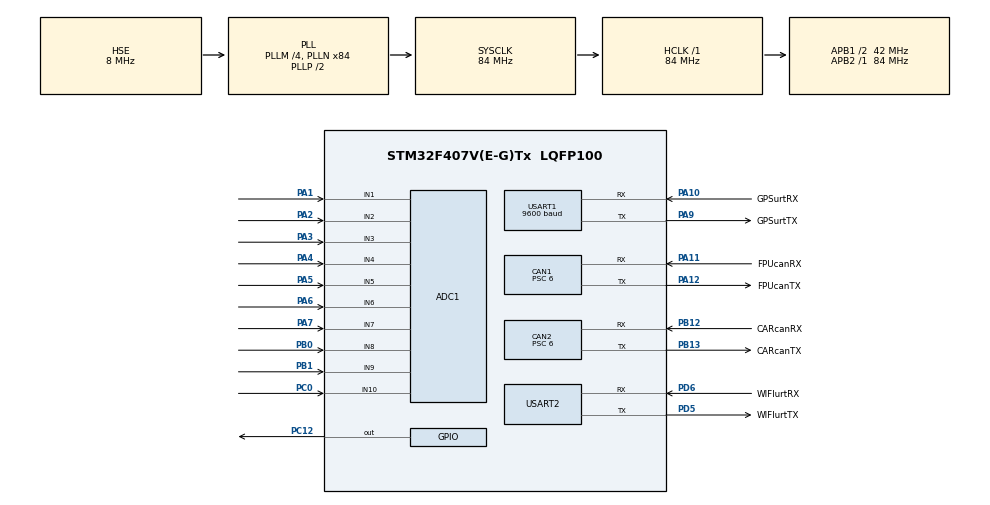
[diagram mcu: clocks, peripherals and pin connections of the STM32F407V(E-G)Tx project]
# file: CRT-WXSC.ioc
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ADC1.Channel-0\#ChannelRegularConversion=ADC_CHANNEL_1
ADC1.Channel-1\#ChannelRegularConversion=ADC_CHANNEL_2
ADC1.Channel-2\#ChannelRegularConversion=ADC_CHANNEL_3
ADC1.Channel-3\#ChannelRegularConversion=ADC_CHANNEL_4
ADC1.Channel-4\#ChannelRegularConversion=ADC_CHANNEL_5
ADC1.Channel-5\#ChannelRegularConversion=ADC_CHANNEL_6
ADC1.Channel-6\#ChannelRegularConversion=ADC_CHANNEL_7
ADC1.Channel-7\#ChannelRegularConversion=ADC_CHANNEL_8
ADC1.Channel-8\#ChannelRegularConversion=ADC_CHANNEL_9
ADC1.Channel-9\#ChannelRegularConversion=ADC_CHANNEL_10
ADC1.ContinuousConvMode=ENABLE
ADC1.DMAContinuousRequests=ENABLE
ADC1.ExternalTrigConv=ADC_EXTERNALTRIGCONV_T3_TRGO
ADC1.InjNumberOfConversion=0
ADC1.NbrOfConversion=10
ADC1.NbrOfConversionFlag=1
ADC1.Rank-0\#ChannelRegularConversion=1
ADC1.Rank-1\#ChannelRegularConversion=2
ADC1.Rank-2\#ChannelRegularConversion=3
ADC1.Rank-3\#ChannelRegularConversion=4
ADC1.Rank-4\#ChannelRegularConversion=5
ADC1.Rank-5\#ChannelRegularConversion=6
ADC1.Rank-6\#ChannelRegularConversion=7
ADC1.Rank-7\#ChannelRegularConversion=8
ADC1.Rank-8\#ChannelRegularConversion=9
ADC1.Rank-9\#ChannelRegularConversion=10
ADC1.SamplingTime-0\#ChannelRegularConversion=ADC_SAMPLETIME_3CYCLES
ADC1.SamplingTime-1\#ChannelRegularConversion=ADC_SAMPLETIME_3CYCLES
ADC1.SamplingTime-2\#ChannelRegularConversion=ADC_SAMPLETIME_3CYCLES
ADC1.SamplingTime-3\#ChannelRegularConversion=ADC_SAMPLETIME_3CYCLES
ADC1.SamplingTime-4\#ChannelRegularConversion=ADC_SAMPLETIME_3CYCLES
ADC1.SamplingTime-5\#ChannelRegularConversion=ADC_SAMPLETIME_3CYCLES
ADC1.SamplingTime-6\#ChannelRegularConversion=ADC_SAMPLETIME_3CYCLES
ADC1.SamplingTime-7\#ChannelRegularConversion=ADC_SAMPLETIME_3CYCLES
ADC1.SamplingTime-8\#ChannelRegularConversion=ADC_SAMPLETIME_3CYCLES
ADC1.SamplingTime-9\#ChannelRegularConversion=ADC_SAMPLETIME_3CYCLES
ADC1.ScanConvMode=ENABLE
ADC1.master=1
CAN1.BS1=CAN_BS1_11TQ
CAN1.BS2=CAN_BS2_2TQ
CAN1.CalculateBaudRate=500000
CAN1.CalculateTimeBit=2000
CAN1.CalculateTimeQuantum=142.85714285714286
CAN1.Prescaler=6
CAN2.BS1=CAN_BS1_8TQ
CAN2.BS2=CAN_BS2_5TQ
CAN2.CalculateBaudRate=500000
CAN2.CalculateTimeBit=2000
CAN2.CalculateTimeQuantum=142.85714285714286
CAN2.Prescaler=6
Dma.ADC1.1.Direction=DMA_PERIPH_TO_MEMORY
Dma.ADC1.1.FIFOMode=DMA_FIFOMODE_DISABLE
Dma.ADC1.1.Instance=DMA2_Stream0
Dma.ADC1.1.MemDataAlignment=DMA_MDATAALIGN_HALFWORD
Dma.ADC1.1.MemInc=DMA_MINC_ENABLE
Dma.ADC1.1.Mode=DMA_NORMAL
Dma.ADC1.1.PeriphDataAlignment=DMA_PDATAALIGN_HALFWORD
Dma.ADC1.1.PeriphInc=DMA_PINC_DISABLE
Dma.ADC1.1.Priority=DMA_PRIORITY_HIGH
Dma.Request0=USART2_RX
Dma.Request1=ADC1
Dma.Request2=USART1_RX
Dma.Request3=USART2_TX
Dma.Request4=USART1_TX
Dma.USART1_RX.2.Direction=DMA_PERIPH_TO_MEMORY
Dma.USART1_RX.2.FIFOMode=DMA_FIFOMODE_DISABLE
Dma.USART1_RX.2.Instance=DMA2_Stream2
Dma.USART1_RX.2.MemDataAlignment=DMA_MDATAALIGN_BYTE
Dma.USART1_RX.2.MemInc=DMA_MINC_ENABLE
Dma.USART1_RX.2.Mode=DMA_CIRCULAR
Dma.USART1_RX.2.PeriphDataAlignment=DMA_PDATAALIGN_BYTE
Dma.USART1_RX.2.PeriphInc=DMA_PINC_DISABLE
Dma.USART1_RX.2.Priority=DMA_PRIORITY_MEDIUM
Dma.USART1_TX.4.Direction=DMA_MEMORY_TO_PERIPH
Dma.USART1_TX.4.FIFOMode=DMA_FIFOMODE_DISABLE
Dma.USART1_TX.4.Instance=DMA2_Stream7
Dma.USART1_TX.4.MemDataAlignment=DMA_MDATAALIGN_BYTE
Dma.USART1_TX.4.MemInc=DMA_MINC_ENABLE
Dma.USART1_TX.4.Mode=DMA_NORMAL
Dma.USART1_TX.4.PeriphDataAlignment=DMA_PDATAALIGN_BYTE
Dma.USART1_TX.4.PeriphInc=DMA_PINC_DISABLE
Dma.USART1_TX.4.Priority=DMA_PRIORITY_LOW
Dma.USART2_RX.0.Direction=DMA_PERIPH_TO_MEMORY
Dma.USART2_RX.0.FIFOMode=DMA_FIFOMODE_DISABLE
Dma.USART2_RX.0.Instance=DMA1_Stream5
Dma.USART2_RX.0.MemDataAlignment=DMA_MDATAALIGN_BYTE
Dma.USART2_RX.0.MemInc=DMA_MINC_ENABLE
Dma.USART2_RX.0.Mode=DMA_CIRCULAR
Dma.USART2_RX.0.PeriphDataAlignment=DMA_PDATAALIGN_BYTE
Dma.USART2_RX.0.PeriphInc=DMA_PINC_DISABLE
Dma.USART2_RX.0.Priority=DMA_PRIORITY_LOW
Dma.USART2_TX.3.Direction=DMA_MEMORY_TO_PERIPH
Dma.USART2_TX.3.FIFOMode=DMA_FIFOMODE_DISABLE
Dma.USART2_TX.3.Instance=DMA1_Stream6
Dma.USART2_TX.3.MemDataAlignment=DMA_MDATAALIGN_BYTE
Dma.USART2_TX.3.MemInc=DMA_MINC_ENABLE
Dma.USART2_TX.3.Mode=DMA_NORMAL
Dma.USART2_TX.3.PeriphDataAlignment=DMA_PDATAALIGN_BYTE
Dma.USART2_TX.3.PeriphInc=DMA_PINC_DISABLE
Dma.USART2_TX.3.Priority=DMA_PRIORITY_MEDIUM
FREERTOS.BinarySemaphores01=sem_tx_done,Dynamic,NULL,Available
FREERTOS.Events01=eg_sensor,Static,evt_imuControlBlock
FREERTOS.Mutexes01=myMutex_adc,Static,myMutex_adcControlBlock,Available;myMutex_nav_result,Static,myMutex_nav_resultControlBlock,Available
FREERTOS.Queues01=q_imu_raw,16,can_frame_t,0,Static,q_imu_rawBuffer,q_imu_rawControlBlock;q_can2_rx,8,can_frame_t,0,Static,q_can2_rxBuffer,q_can2_rxControlBlock;q_gps_raw,4,gps_pdu_t*,0,Static,q_gps_rawBuffer,q_gps_rawControlBlock;q_nav_result,4,nav_result_t*,0,Static,q_nav_resultBuffer,q_nav_resultControlBlock
FREERTOS.Tasks01=StartTask,32,128,StartTask_01,Default,NULL,Dynamic,NULL,NULL;task_nav,40,128,StartTask_nav,As external,NULL,Dynamic,NULL,NULL;task_imu_rx,32,128,StartTask_imu_rx,As external,NULL,Dynamic,NULL,NULL;task_gps_rx,32,128,StartTask_gps_rx,As external,NULL,Dynamic,NULL,NULL;task_can2,24,128,StartTask_can2,As external,NULL,Dynamic,NULL,NULL;task_tx_pack,16,128,StartTask_tx_pack,As external,NULL,Dynamic,NULL,NULL;task_monitor,8,128,StartTask_monitor,As external,NULL,Dynamic,NULL,NULL;task_adc,32,128,StartTask_adc,As external,NULL,Dynamic,NULL,NULL
FREERTOS.configMAX_CO_ROUTINE_PRIORITIES=8
FREERTOS.configTOTAL_HEAP_SIZE=40960
FREERTOS.configUSE_MALLOC_FAILED_HOOK=1
FREERTOS.configUSE_STATS_FORMATTING_FUNCTIONS=1
IWDG.Prescaler=IWDG_PRESCALER_32
IWDG.Reload=1249
Mcu.Family=STM32F4
Mcu.Name=STM32F407V(E-G)Tx
Mcu.Package=LQFP100
Mcu.UserConstants=tuoluoyi,tuoluoyi
NVIC.ADC_IRQn=true\:5\:0\:false\:false\:true\:true\:true\:true\:true
NVIC.CAN1_RX0_IRQn=true\:5\:0\:true\:false\:true\:true\:true\:true\:true
NVIC.CAN2_RX0_IRQn=true\:5\:0\:true\:false\:true\:true\:true\:true\:true
NVIC.CAN2_TX_IRQn=true\:7\:0\:true\:false\:true\:true\:true\:true\:true
NVIC.DMA1_Stream5_IRQn=true\:7\:0\:true\:false\:true\:true\:false\:true\:true
NVIC.DMA1_Stream6_IRQn=true\:7\:0\:true\:false\:true\:true\:false\:true\:true
NVIC.DMA2_Stream0_IRQn=true\:6\:0\:true\:false\:true\:true\:false\:true\:true
NVIC.DMA2_Stream2_IRQn=true\:6\:0\:true\:false\:true\:true\:false\:true\:true
NVIC.DMA2_Stream7_IRQn=true\:7\:0\:true\:false\:true\:true\:false\:true\:true
NVIC.PriorityGroup=NVIC_PRIORITYGROUP_4
NVIC.TIM7_IRQn=true\:15\:0\:false\:false\:true\:false\:false\:true\:true
NVIC.TimeBase=TIM7_IRQn
NVIC.TimeBaseIP=TIM7
NVIC.USART1_IRQn=true\:6\:0\:true\:false\:true\:true\:true\:true\:true
NVIC.USART2_IRQn=true\:6\:0\:true\:false\:true\:true\:true\:true\:true
PA1.Signal=ADCx_IN1
PA10.GPIO_Label=GPSurtRX
PA10.Mode=Asynchronous
PA10.Signal=USART1_RX
PA11.GPIO_Label=FPUcanRX
PA11.Mode=CAN_Activate
PA11.Signal=CAN1_RX
PA12.GPIO_Label=FPUcanTX
PA12.Mode=CAN_Activate
PA12.Signal=CAN1_TX
PA13.Mode=Serial_Wire
PA13.Signal=SYS_JTMS-SWDIO
PA14.Mode=Serial_Wire
PA14.Signal=SYS_JTCK-SWCLK
PA2.Signal=ADCx_IN2
PA3.Signal=ADCx_IN3
PA4.Signal=ADCx_IN4
PA5.Signal=ADCx_IN5
PA6.Signal=ADCx_IN6
PA7.Signal=ADCx_IN7
PA9.GPIO_Label=GPSurtTX
PA9.Mode=Asynchronous
PA9.Signal=USART1_TX
PB0.Signal=ADCx_IN8
PB1.Signal=ADCx_IN9
PB12.GPIO_Label=CARcanRX
PB12.Mode=CAN_Activate
PB12.Signal=CAN2_RX
PB13.GPIO_Label=CARcanTX
PB13.Mode=CAN_Activate
PB13.Signal=CAN2_TX
PC0.Signal=ADCx_IN10
PC12.PinState=GPIO_PIN_SET
PC12.Signal=GPIO_Output
PD5.GPIO_Label=WIFIurtTX
PD5.Mode=Asynchronous
PD5.Signal=USART2_TX
PD6.GPIO_Label=WIFIurtRX
PD6.Mode=Asynchronous
PD6.Signal=USART2_RX
PH0-OSC_IN.Mode=HSE-External-Oscillator
PH0-OSC_IN.Signal=RCC_OSC_IN
PH1-OSC_OUT.Mode=HSE-External-Oscillator
PH1-OSC_OUT.Signal=RCC_OSC_OUT
ProjectManager.HeapSize=0x1000
ProjectManager.StackSize=0x800
ProjectManager.TargetToolchain=MDK-ARM V5.32
RCC.48MHZClocksFreq_Value=42000000
RCC.AHBFreq_Value=84000000
RCC.APB1CLKDivider=RCC_HCLK_DIV2
RCC.APB1Freq_Value=42000000
RCC.APB1TimFreq_Value=84000000
RCC.APB2Freq_Value=84000000
RCC.APB2TimFreq_Value=84000000
RCC.CortexFreq_Value=84000000
RCC.EnbaleCSS=true
RCC.HCLKFreq_Value=84000000
RCC.HSE_VALUE=8000000
RCC.HSI_VALUE=16000000
RCC.LSE_VALUE=32768
RCC.PLLM=4
RCC.PLLN=84
RCC.PLLSourceVirtual=RCC_PLLSOURCE_HSE
RCC.SYSCLKFreq_VALUE=84000000
RCC.SYSCLKSource=RCC_SYSCLKSOURCE_PLLCLK
RCC.VCOOutputFreq_Value=168000000
SH.ADCx_IN1.0=ADC1_IN1,IN1
SH.ADCx_IN10.0=ADC1_IN10,IN10
SH.ADCx_IN2.0=ADC1_IN2,IN2
SH.ADCx_IN3.0=ADC1_IN3,IN3
SH.ADCx_IN4.0=ADC1_IN4,IN4
SH.ADCx_IN5.0=ADC1_IN5,IN5
SH.ADCx_IN6.0=ADC1_IN6,IN6
SH.ADCx_IN7.0=ADC1_IN7,IN7
SH.ADCx_IN8.0=ADC1_IN8,IN8
SH.ADCx_IN9.0=ADC1_IN9,IN9
TIM3.AutoReloadPreload=TIM_AUTORELOAD_PRELOAD_ENABLE
TIM3.Period=4999
TIM3.Prescaler=83
TIM3.TIM_MasterOutputTrigger=TIM_TRGO_UPDATE
USART1.BaudRate=9600
USART1.VirtualMode=VM_ASYNC
USART2.VirtualMode=VM_ASYNC
VP_FREERTOS_VS_CMSIS_V2.Mode=CMSIS_V2
VP_IWDG_VS_IWDG.Mode=IWDG_Activate
VP_SYS_VS_tim7.Mode=TIM7
VP_TIM3_VS_ClockSourceITR.Mode=TriggerSource_ITR0
board=custom

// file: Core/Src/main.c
/* USER CODE BEGIN Header */
/**
  ******************************************************************************
  * @file           : main.c
  * @brief          : Main program body
  ******************************************************************************
  * @attention
  *
  * Copyright (c) 2026 STMicroelectronics.
  * All rights reserved.
  *
  * This software is licensed under terms that can be found in the LICENSE file
  * in the root directory of this software component.
  * If no LICENSE file comes with this software, it is provided AS-IS.
  *
  ******************************************************************************
  */
/* USER CODE END Header */
#include "main.h"
#include "cmsis_os.h"
#include "adc.h"
#include "can.h"
#include "dma.h"
#include "iwdg.h"
#include "tim.h"
#include "usart.h"
#include "gpio.h"
#include "app_types.h"
#include "app_queues.h"
#include "string.h"

/* USER CODE BEGIN PV */
uint16_t adc_dma_buf[ADC_CHANNEL_NUM];   // ADC DMA 缓冲区（10 通道）
uint8_t  gps_dma_buf[1024];              // GPS UART DMA 缓冲区（字节流，须 >= GPS_PDU_SIZE）
/* GPS PDU 环形缓冲池（供 IDLE 中断回调使用） */
#define GPS_POOL_SIZE 8   /* 放大 PDU 后单突发仅 1 个 PDU，10Hz=10PDU/s，8 深池防 ISR 回卷覆盖正在读取的 PDU */
static gps_pdu_t gps_pool[GPS_POOL_SIZE];
static uint8_t gps_pool_wr = 0;

/* ---- 调试计数器（Keil 调试器 Watch 窗口查看，定位 CAN2 不发数据） ---- */
volatile uint32_t dbg_can1_isr = 0;      /* CAN1 ISR 被调用次数（0=收不到数据） */
volatile uint32_t dbg_can1_id_ok = 0;    /* CAN1 ID==0x7F 匹配次数（0=ID不对） */
volatile uint32_t dbg_can1_hdr_ok = 0;   /* 帧头0x55+DLC>=8 匹配次数（0=协议不对） */
volatile uint32_t dbg_accel_rx = 0;      /* 收到0x51加速度帧次数 */
volatile uint32_t dbg_gyro_rx = 0;       /* 收到0x52角速度帧次数 */
volatile uint32_t dbg_evt_imu_ready = 0; /* EVT_IMU_READY 触发次数（0=accel+gyro没齐） */
volatile uint32_t dbg_nav_loop = 0;      /* task_nav 循环次数（0=EVT没触发） */
volatile uint32_t dbg_can2_tx = 0;       /* CAN2 发送尝试次数（0=task_nav没跑到） */
volatile uint32_t dbg_gps_rx = 0;       /* GPS UART 收到数据次数（0=UART2没数据/波特率不对） */
volatile uint32_t dbg_gps_parse = 0;    /* NMEA 校验通过次数（0=数据乱码/格式不对） */
volatile uint32_t dbg_gps_fix = 0;      /* GPS 定位成功次数（0=没搜到星） */
volatile uint32_t dbg_gps_evt = 0;      /* EVT_GPS_READY 触发次数 */
volatile uint32_t dbg_gps_idle = 0;     /* USART1(PA10, GPS) IDLE 回调触发次数（0=USART1没收到GPS数据） */
/* USER CODE END PV */

void SystemClock_Config(void);
void MX_FREERTOS_Init(void);

/* USER CODE BEGIN 0 */
/* 供中断回调调用的外部函数声明 */
extern void HAL_CAN_RxFifo0MsgPendingCallback(CAN_HandleTypeDef *hcan);
extern void HAL_UARTEx_RxEventCallback(UART_HandleTypeDef *huart, uint16_t Size);
extern void HAL_UART_TxCpltCallback(UART_HandleTypeDef *huart);
/* USER CODE END 0 */

int main(void)
 {

  /* MCU Configuration--------------------------------------------------------*/

  /* Reset of all peripherals, Initializes the Flash interface and the Systick. */
  HAL_Init();

  /* Configure the system clock */
  SystemClock_Config();

  /* Initialize all configured peripherals */
  MX_GPIO_Init();
  MX_DMA_Init();
  MX_USART1_UART_Init();
  MX_USART2_UART_Init();
  MX_ADC1_Init();
  MX_CAN1_Init();
  MX_CAN2_Init();
  MX_IWDG_Init();
  MX_TIM3_Init();
  /* USER CODE BEGIN 2 */

/* 2. 启动 ADC DMA（Circular，TIM3 触发） */
HAL_ADC_Start_DMA(&hadc1, (uint32_t*)adc_dma_buf, ADC_CH_COUNT);

/* 3. 启动 TIM3（触发 ADC 采样） */
HAL_TIM_Base_Start(&htim3);

/* 3.5 CAN 过滤器配置（全通：mask=0 接收所有帧）
 *    STM32F4 上电后所有过滤器 bank 非激活 → 不配过滤器 CAN 不收任何帧 */
CAN_FilterTypeDef can_filter = {0};
can_filter.FilterMode = CAN_FILTERMODE_IDMASK;
can_filter.FilterScale = CAN_FILTERSCALE_32BIT;
can_filter.FilterIdHigh = 0x0000;
can_filter.FilterIdLow = 0x0000;
can_filter.FilterMaskIdHigh = 0x0000;   /* mask=0 → 不检查任何位 → 全通 */
can_filter.FilterMaskIdLow = 0x0000;
can_filter.FilterFIFOAssignment = CAN_FILTER_FIFO0;
can_filter.FilterActivation = ENABLE;
can_filter.SlaveStartFilterBank = 14;    /* CAN1 用 bank 0-13，CAN2 用 bank 14-27 */

can_filter.FilterBank = 0;
HAL_CAN_ConfigFilter(&hcan1, &can_filter);   /* CAN1 过滤器 */

can_filter.FilterBank = 14;
HAL_CAN_ConfigFilter(&hcan2, &can_filter);   /* CAN2 过滤器 */

/* 3.6 手动使能 CAN2 RX0 中断（CubeMX .ioc 未配 CAN2_RX0_IRQn，在此补上） */
HAL_NVIC_SetPriority(CAN2_RX0_IRQn, 5, 0);
HAL_NVIC_EnableIRQ(CAN2_RX0_IRQn);

/* 4. 启动 CAN1 + 开启接收中断 */
HAL_CAN_Start(&hcan1);
HAL_CAN_ActivateNotification(&hcan1, CAN_IT_RX_FIFO0_MSG_PENDING);

/* 5. 启动 CAN2 + 开启接收中断 */
HAL_CAN_Start(&hcan2);
HAL_CAN_ActivateNotification(&hcan2, CAN_IT_RX_FIFO0_MSG_PENDING);

/* 6. 启动 GPS UART DMA 接收（USART1/PA10，IDLE 检测） */
HAL_UARTEx_ReceiveToIdle_DMA(&huart1,  (uint8_t*)gps_dma_buf, GPS_PDU_SIZE);
__HAL_DMA_DISABLE_IT(&hdma_usart1_rx, DMA_IT_HT);  // 关半传输中断，只用IDLE

  /* USER CODE END 2 */

  /* Init scheduler */
  osKernelInitialize();  /* Call init function for freertos objects (in cmsis_os2.c) */
  MX_FREERTOS_Init();

  /* Start scheduler */
  osKernelStart();

  /* We should never get here as control is now taken by the scheduler */

  /* Infinite loop */
  while (1)
  {

  }
}

void SystemClock_Config(void)
{
  RCC_OscInitTypeDef RCC_OscInitStruct = {0};
  RCC_ClkInitTypeDef RCC_ClkInitStruct = {0};

  /** Configure the main internal regulator output voltage
  */
  __HAL_RCC_PWR_CLK_ENABLE();
  __HAL_PWR_VOLTAGESCALING_CONFIG(PWR_REGULATOR_VOLTAGE_SCALE1);

  /** Initializes the RCC Oscillators according to the specified parameters
  * in the RCC_OscInitTypeDef structure.
  */
  RCC_OscInitStruct.OscillatorType = RCC_OSCILLATORTYPE_LSI|RCC_OSCILLATORTYPE_HSE;
  RCC_OscInitStruct.HSEState = RCC_HSE_ON;
  RCC_OscInitStruct.LSIState = RCC_LSI_ON;
  RCC_OscInitStruct.PLL.PLLState = RCC_PLL_ON;
  RCC_OscInitStruct.PLL.PLLSource = RCC_PLLSOURCE_HSE;
  RCC_OscInitStruct.PLL.PLLM = 4;
  RCC_OscInitStruct.PLL.PLLN = 84;
  RCC_OscInitStruct.PLL.PLLP = RCC_PLLP_DIV2;
  RCC_OscInitStruct.PLL.PLLQ = 4;
  if (HAL_RCC_OscConfig(&RCC_OscInitStruct) != HAL_OK)
  {
    Error_Handler();
  }

  /** Initializes the CPU, AHB and APB buses clocks
  */
  RCC_ClkInitStruct.ClockType = RCC_CLOCKTYPE_HCLK|RCC_CLOCKTYPE_SYSCLK
                              |RCC_CLOCKTYPE_PCLK1|RCC_CLOCKTYPE_PCLK2;
  RCC_ClkInitStruct.SYSCLKSource = RCC_SYSCLKSOURCE_PLLCLK;
  RCC_ClkInitStruct.AHBCLKDivider = RCC_SYSCLK_DIV1;
  RCC_ClkInitStruct.APB1CLKDivider = RCC_HCLK_DIV2;
  RCC_ClkInitStruct.APB2CLKDivider = RCC_HCLK_DIV1;

  if (HAL_RCC_ClockConfig(&RCC_ClkInitStruct, FLASH_LATENCY_2) != HAL_OK)
  {
    Error_Handler();
  }

  /** Enables the Clock Security System
  */
  HAL_RCC_EnableCSS();
}

void HAL_TIM_PeriodElapsedCallback(TIM_HandleTypeDef *htim)
{
  if (htim->Instance == TIM7)
  {
    HAL_IncTick();
  }
}
  /* USER CODE BEGIN Callback 1 */
/* ---- CAN1 接收回调 ---- */
void HAL_CAN_RxFifo0MsgPendingCallback(CAN_HandleTypeDef *hcan)
{
    if (hcan->Instance == CAN1) {
        CAN_RxHeaderTypeDef hdr;
        uint8_t data[8];
        HAL_CAN_GetRxMessage(hcan, CAN_RX_FIFO0, &hdr, data);
        dbg_can1_isr++;

        can_frame_t frame;
        frame.id   = (hdr.IDE == CAN_ID_STD) ? hdr.StdId : hdr.ExtId;
        frame.dlc  = hdr.DLC;
        frame.tick = HAL_GetTick();
        memcpy(frame.data, data, 8);

        osMessageQueuePut(q_imu_rawHandle, &frame, 0, 0);
    }
    else if (hcan->Instance == CAN2) {
        /* CAN2 同理，发到 q_can2_rx */
        CAN_RxHeaderTypeDef hdr;
        uint8_t data[8];
        HAL_CAN_GetRxMessage(hcan, CAN_RX_FIFO0, &hdr, data);

        can_frame_t frame;
        frame.id   = (hdr.IDE == CAN_ID_STD) ? hdr.StdId : hdr.ExtId;
        frame.dlc  = hdr.DLC;
        frame.tick = HAL_GetTick();
        memcpy(frame.data, data, 8);

        osMessageQueuePut(q_can2_rxHandle, &frame, 0, 0);
    }
}

/* ---- GPS UART IDLE 回调 ---- */
void HAL_UARTEx_RxEventCallback(UART_HandleTypeDef *huart, uint16_t Size)
{
    if (huart->Instance != USART1) return;   /* GPS 接在 USART1(PA10) */

    dbg_gps_idle++;   /* IDLE 触发了 → 说明 USART1 收到了 GPS 数据且 DMA+IDLE 正常 */

    gps_pdu_t *p = &gps_pool[gps_pool_wr % GPS_POOL_SIZE];
    /* 取环形缓冲池的下一个 PDU  % 是取模。gps_pool_wr 只增不减，除 4 取余数，实现无限循环的 0→1→2→3→0→1→2→3…：*/
    gps_pool_wr++;

    uint16_t n = (Size > GPS_PDU_SIZE) ? GPS_PDU_SIZE : Size;  /* 封顶到 GPS_PDU_SIZE，防单突发超长越界写穿 .bss → HardFault */
    memcpy(p->buf, gps_dma_buf, n);
    p->len = n;

    osMessageQueuePut(q_gps_rawHandle, &p, 0, 0);

    /* 重新启动 DMA 接收 */
    HAL_UARTEx_ReceiveToIdle_DMA(&huart1, gps_dma_buf, GPS_PDU_SIZE);
    __HAL_DMA_DISABLE_IT(&hdma_usart1_rx, DMA_IT_HT);
}

/* ---- E34 数传(UART2/PD5) DMA 发送完成回调 ---- */
void HAL_UART_TxCpltCallback(UART_HandleTypeDef *huart)
{
    if (huart->Instance == USART2) {
        /* 通知 task_tx_pack 可以发下一包 */
        osSemaphoreRelease(sem_tx_doneHandle);
    }
}

  /* USER CODE END Callback 1 */

void Error_Handler(void)
{
  __disable_irq();
  while (1)
  {
  }
}

/* USER CODE END 4 */

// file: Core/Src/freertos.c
/* USER CODE BEGIN Header */
/**
  ******************************************************************************
  * File Name          : freertos.c
  * Description        : Code for freertos applications
  ******************************************************************************
  * @attention
  *
  * Copyright (c) 2026 STMicroelectronics.
  * All rights reserved.
  *
  * This software is licensed under terms that can be found in the LICENSE file
  * in the root directory of this software component.
  * If no LICENSE file comes with this software, it is provided AS-IS.
  *
  ******************************************************************************
  */
/* USER CODE END Header */

#include "FreeRTOS.h"
#include "task.h"
#include "main.h"
#include "cmsis_os.h"

/* USER CODE BEGIN Includes */
#include "app_types.h"
/* USER CODE END Includes */

typedef StaticQueue_t osStaticMessageQDef_t;
typedef StaticSemaphore_t osStaticMutexDef_t;
typedef StaticEventGroup_t osStaticEventGroupDef_t;

/* Definitions for StartTask */
osThreadId_t StartTaskHandle;
const osThreadAttr_t StartTask_attributes = {
  .name = "StartTask",
  .stack_size = 128 * 4,
  .priority = (osPriority_t) osPriorityAboveNormal,
};
/* Definitions for task_nav */
osThreadId_t task_navHandle;
const osThreadAttr_t task_nav_attributes = {
  .name = "task_nav",
  .stack_size = 128 * 4,
  .priority = (osPriority_t) osPriorityHigh,
};
/* Definitions for task_imu_rx */
osThreadId_t task_imu_rxHandle;
const osThreadAttr_t task_imu_rx_attributes = {
  .name = "task_imu_rx",
  .stack_size = 128 * 4,
  .priority = (osPriority_t) osPriorityAboveNormal,
};
/* Definitions for task_gps_rx */
osThreadId_t task_gps_rxHandle;
const osThreadAttr_t task_gps_rx_attributes = {
  .name = "task_gps_rx",
  .stack_size = 256 * 4,   /* 1024B：atof() 库实现栈 ~300-500B，原 512B 解析 NMEA 调用 atof 会撑爆栈 → HardFault → IWDG 1.25s 复位 */
  .priority = (osPriority_t) osPriorityAboveNormal,
};
/* Definitions for task_can2 */
osThreadId_t task_can2Handle;
const osThreadAttr_t task_can2_attributes = {
  .name = "task_can2",
  .stack_size = 128 * 4,
  .priority = (osPriority_t) osPriorityNormal,
};
/* Definitions for task_tx_pack */
osThreadId_t task_tx_packHandle;
const osThreadAttr_t task_tx_pack_attributes = {
  .name = "task_tx_pack",
  .stack_size = 128 * 4,
  .priority = (osPriority_t) osPriorityBelowNormal,
};
/* Definitions for task_monitor */
osThreadId_t task_monitorHandle;
const osThreadAttr_t task_monitor_attributes = {
  .name = "task_monitor",
  .stack_size = 128 * 4,
  .priority = (osPriority_t) osPriorityLow,
};
/* Definitions for task_adc */
osThreadId_t task_adcHandle;
const osThreadAttr_t task_adc_attributes = {
  .name = "task_adc",
  .stack_size = 128 * 4,
  .priority = (osPriority_t) osPriorityAboveNormal,
};
/* Definitions for q_imu_raw */
osMessageQueueId_t q_imu_rawHandle;
uint8_t q_imu_rawBuffer[ 16 * sizeof( can_frame_t ) ];
osStaticMessageQDef_t q_imu_rawControlBlock;
const osMessageQueueAttr_t q_imu_raw_attributes = {
  .name = "q_imu_raw",
  .cb_mem = &q_imu_rawControlBlock,
  .cb_size = sizeof(q_imu_rawControlBlock),
  .mq_mem = &q_imu_rawBuffer,
  .mq_size = sizeof(q_imu_rawBuffer)
};
/* Definitions for q_can2_rx */
osMessageQueueId_t q_can2_rxHandle;
uint8_t q_can2_rxBuffer[ 8 * sizeof( can_frame_t ) ];
osStaticMessageQDef_t q_can2_rxControlBlock;
const osMessageQueueAttr_t q_can2_rx_attributes = {
  .name = "q_can2_rx",
  .cb_mem = &q_can2_rxControlBlock,
  .cb_size = sizeof(q_can2_rxControlBlock),
  .mq_mem = &q_can2_rxBuffer,
  .mq_size = sizeof(q_can2_rxBuffer)
};
/* Definitions for q_gps_raw */
osMessageQueueId_t q_gps_rawHandle;
uint8_t q_gps_rawBuffer[ 4 * sizeof( gps_pdu_t* ) ];
osStaticMessageQDef_t q_gps_rawControlBlock;
const osMessageQueueAttr_t q_gps_raw_attributes = {
  .name = "q_gps_raw",
  .cb_mem = &q_gps_rawControlBlock,
  .cb_size = sizeof(q_gps_rawControlBlock),
  .mq_mem = &q_gps_rawBuffer,
  .mq_size = sizeof(q_gps_rawBuffer)
};
/* Definitions for q_nav_result */
osMessageQueueId_t q_nav_resultHandle;
uint8_t q_nav_resultBuffer[ 4 * sizeof( nav_result_t* ) ];
osStaticMessageQDef_t q_nav_resultControlBlock;
const osMessageQueueAttr_t q_nav_result_attributes = {
  .name = "q_nav_result",
  .cb_mem = &q_nav_resultControlBlock,
  .cb_size = sizeof(q_nav_resultControlBlock),
  .mq_mem = &q_nav_resultBuffer,
  .mq_size = sizeof(q_nav_resultBuffer)
};
/* Definitions for myMutex_adc */
osMutexId_t myMutex_adcHandle;
osStaticMutexDef_t myMutex_adcControlBlock;
const osMutexAttr_t myMutex_adc_attributes = {
  .name = "myMutex_adc",
  .cb_mem = &myMutex_adcControlBlock,
  .cb_size = sizeof(myMutex_adcControlBlock),
};
/* Definitions for myMutex_nav_result */
osMutexId_t myMutex_nav_resultHandle;
osStaticMutexDef_t myMutex_nav_resultControlBlock;
const osMutexAttr_t myMutex_nav_result_attributes = {
  .name = "myMutex_nav_result",
  .cb_mem = &myMutex_nav_resultControlBlock,
  .cb_size = sizeof(myMutex_nav_resultControlBlock),
};
/* Definitions for sem_tx_done */
osSemaphoreId_t sem_tx_doneHandle;
const osSemaphoreAttr_t sem_tx_done_attributes = {
  .name = "sem_tx_done"
};
/* Definitions for eg_sensor */
osEventFlagsId_t eg_sensorHandle;
osStaticEventGroupDef_t evt_imuControlBlock;
const osEventFlagsAttr_t eg_sensor_attributes = {
  .name = "eg_sensor",
  .cb_mem = &evt_imuControlBlock,
  .cb_size = sizeof(evt_imuControlBlock),
};

void StartTask_01(void *argument);
extern void StartTask_nav(void *argument);
extern void StartTask_imu_rx(void *argument);
extern void StartTask_gps_rx(void *argument);
extern void StartTask_can2(void *argument);
extern void StartTask_tx_pack(void *argument);
extern void StartTask_monitor(void *argument);
extern void StartTask_adc(void *argument);

void MX_FREERTOS_Init(void); /* (MISRA C 2004 rule 8.1) */

/* Hook prototypes */
void vApplicationMallocFailedHook(void);

/* USER CODE BEGIN 5 */
void vApplicationMallocFailedHook(void)
{
   /* vApplicationMallocFailedHook() will only be called if
   configUSE_MALLOC_FAILED_HOOK is set to 1 in FreeRTOSConfig.h. It is a hook
   function that will get called if a call to pvPortMalloc() fails.
   pvPortMalloc() is called internally by the kernel whenever a task, queue,
   timer or semaphore is created. It is also called by various parts of the
   demo application. If heap_1.c or heap_2.c are used, then the size of the
   heap available to pvPortMalloc() is defined by configTOTAL_HEAP_SIZE in
   FreeRTOSConfig.h, and the xPortGetFreeHeapSize() API function can be used
   to query the size of free heap space that remains (although it does not
   provide information on how the remaining heap might be fragmented). */
}
/* USER CODE END 5 */

void MX_FREERTOS_Init(void) {
  /* Create the mutex(es) */
  /* creation of myMutex_adc */
  myMutex_adcHandle = osMutexNew(&myMutex_adc_attributes);

  /* creation of myMutex_nav_result */
  myMutex_nav_resultHandle = osMutexNew(&myMutex_nav_result_attributes);

  /* Create the semaphores(s) */
  /* creation of sem_tx_done */
  sem_tx_doneHandle = osSemaphoreNew(1, 1, &sem_tx_done_attributes);

  /* Create the queue(s) */
  /* creation of q_imu_raw */
  q_imu_rawHandle = osMessageQueueNew (16, sizeof(can_frame_t), &q_imu_raw_attributes);

  /* creation of q_can2_rx */
  q_can2_rxHandle = osMessageQueueNew (8, sizeof(can_frame_t), &q_can2_rx_attributes);

  /* creation of q_gps_raw */
  q_gps_rawHandle = osMessageQueueNew (4, sizeof(gps_pdu_t*), &q_gps_raw_attributes);

  /* creation of q_nav_result */
  q_nav_resultHandle = osMessageQueueNew (4, sizeof(nav_result_t*), &q_nav_result_attributes);

  /* Create the thread(s) */
  /* creation of StartTask */
  StartTaskHandle = osThreadNew(StartTask_01, NULL, &StartTask_attributes);

  /* creation of task_nav */
  task_navHandle = osThreadNew(StartTask_nav, NULL, &task_nav_attributes);

  /* creation of task_imu_rx */
  task_imu_rxHandle = osThreadNew(StartTask_imu_rx, NULL, &task_imu_rx_attributes);

  /* creation of task_gps_rx */
  task_gps_rxHandle = osThreadNew(StartTask_gps_rx, NULL, &task_gps_rx_attributes);

  /* creation of task_can2 */
  task_can2Handle = osThreadNew(StartTask_can2, NULL, &task_can2_attributes);

  /* creation of task_tx_pack */
  task_tx_packHandle = osThreadNew(StartTask_tx_pack, NULL, &task_tx_pack_attributes);

  /* creation of task_monitor */
  task_monitorHandle = osThreadNew(StartTask_monitor, NULL, &task_monitor_attributes);

  /* creation of task_adc */
  task_adcHandle = osThreadNew(StartTask_adc, NULL, &task_adc_attributes);

  /* creation of eg_sensor */
  eg_sensorHandle = osEventFlagsNew(&eg_sensor_attributes);

}

void StartTask_01(void *argument)
{
  for(;;)
  {
    osDelay(1);
  }
}
